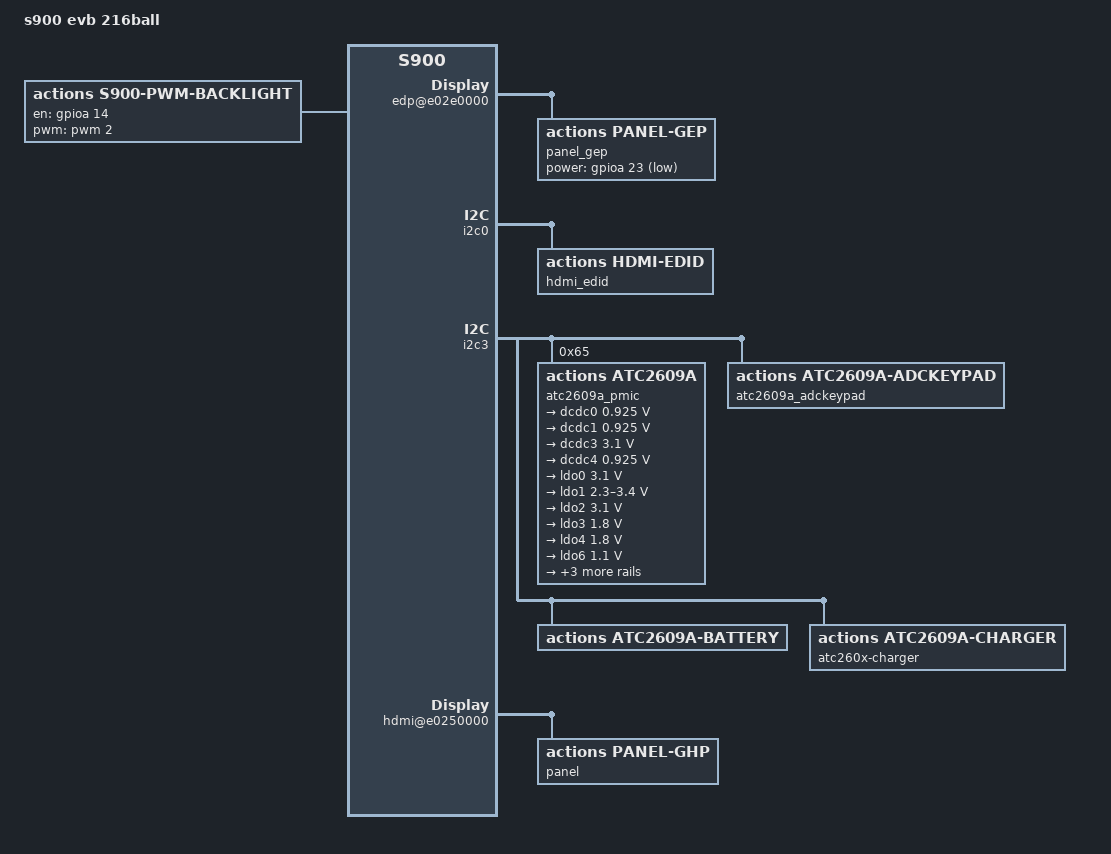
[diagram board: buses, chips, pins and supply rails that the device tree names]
/*
 * Copyright (c) 2015 Actions Semi Co., Ltd.
 *
 * SPDX-License-Identifier:	GPL-2.0+
 */

/dts-v1/;

#include "s900.dtsi"

/ {
	model = "s900 evb 216ball";
	compatible = "actions,s900_evb_216ball", "actions,s900";

	chosen {
		stdout-path = &serial5;
	};

	clock:e0160000 {
		compatible = "actions,owl-clk";
		core_pll = <1104>;
		dev_pll = <660>;
		display_pll = <1056>;
	};

	pwm: pwm@e01b0000 {
		pwm2 {
			id = <2>;
			mfp = <0>;
		};
	};

	edp@e02e0000 {
		panel_configs = <&config0>;

		/*
		 * edp_configs, used to configure edp controller,
		 * its values should set according to edp panel's spec.
		 * Currently, the configration is for lg-lp097qx1 panel.
		 */
		config0: edp_configs {
			link_rate = <0>;	/* 0, 1.62G; 1, 2.7G; 2, 5.4G */

			lane_count = <4>;
			lane_polarity = <0x00>;	/* bit 0~3 map for lanes' polarity,
						   bit 4 map for aux lanes' polarity,
						   0 normal, 1 reversed */
			lane_mirror = <1>;	/* lane mirror, 0 lane0~3, 1 lane3~0 */

			mstream_polarity = <0x3>;/* bit map for mstream's polarity,
						   bit1: vsync, bit0 hsync */
			user_sync_polarity = <0xc>;/* bit map for user sync's polarity,
						    * bit3: sync signal polarity,
						    * bit2: enable signal polarity,
						    * bit1: vsync polarity,
						    * bit0: hsync polarity
						    */

			pclk_parent = <0>;	/* 0, ASSIST_PLL, 1, DISPLAY PLL */
			pclk_rate = <200000000>;/* 200MHz, ASSIST_PLL, divider 2.5 */
		};

		/* lg-lp097qx1 edp panel */
		panel_gep: edp_panel {
			compatible = "actions,panel-gep";

			/* panel's fixed info */
			width_mm = <197>;
			height_mm = <147>;
			bpp = <18>;

			is_primary = <1>;

			/* operation delay in ms */
			power_on_delay = <0>;
			power_off_delay = <0>;
			enable_delay = <0>;
			disable_delay = <0>;

			/* GPIOA23, active low */
			power-gpio = <&gpioa 23 1>;

			videomode-0 = <&mode0>;

			/* 2048x1536p60 */
			mode0: videomode {
				refresh_rate = <60>;

				xres = <2048>;
				yres = <1536>;

				/*
				 * pclk_rate = 200MHz, ASSIS_PLL, divider 2.5
				 * pixel_clock = picoseconds / pclk_rate
				 */
				pixel_clock = <5000>;

				hsw = <5>;
				hbp = <44>;
				hfp = <48>;

				vsw = <10>;
				vbp = <6>;
				vfp = <2>;

				/* 0: FB_VMODE_NONINTERLACED, 1:FB_VMODE_INTERLACED */
				vmode = <0>;
			};
		};
	};

	i2c0: i2c@e0170000 {
		hdmi_edid {
			compatible = "actions,hdmi-edid";
		};
	};

	i2c3: i2c@e0176000 {
		atc2609a_pmic {
			compatible = "actions,atc2609a";
			reg = <0x65>;

			atc2609a_rtc {
					compatible = "actions,atc2609a-rtc";
			};

			atc2609a_pstore {
					compatible = "actions,atc2609a-pstore";
			};

			atc2609a_misc {
					compatible = "actions,atc2609a-misc";
			};

			atc2609a_auxadc {
					compatible = "actions,atc2609a-auxadc";
			};

			voltage-regulators {

			/* DCDC0       VDD_CORE
			 * DCDC1       VDD_CPU
			 * DCDC2       VDDR
			 * DCDC3       VCC
			 * DCDC4       VDD_CPUM
			 */
			dcdc0: dcdc0 {
				regulator-name = "dcdc0";
				regulator-min-microvolt = <925000>;
				regulator-max-microvolt = <925000>;
				regulator-always-on;
			};

			dcdc1: dcdc1 {
				regulator-name = "dcdc1";
				regulator-min-microvolt = <925000>;
				regulator-max-microvolt = <925000>;
				regulator-always-on;
			};

			dcdc3: dcdc3 {
				regulator-name = "dcdc3";
				regulator-min-microvolt = <3100000>;
				regulator-max-microvolt = <3100000>;
				regulator-always-on;
			};

			dcdc4: dcdc4 {
				regulator-name = "dcdc4";
				regulator-min-microvolt = <925000>;
				regulator-max-microvolt = <925000>;
				regulator-always-on;
			};

			/* LDO0        SD_VCC     
			 * LDO1        SENS_AVDD  
			 * LDO2        AVCC       
			 * LDO3        ATC2609_VDD   
			 * LDO4        AVCC_1V8   
			 * LDO6        AVDD_1V0   
			 * LDO7        SENS_DVDD  
			 * LDO8        TP_VCC     
			 * LDO9        RTC_VDD     */

			ldo0: ldo0{
				regulator-name = "ldo0";
				regulator-min-microvolt  = <3100000>;
				regulator-max-microvolt = <3100000>;
				regulator-always-on;
			};

			ldo1: ldo1{
				regulator-name = "ldo1";
				regulator-min-microvolt  = <2300000>;
				regulator-max-microvolt = <3400000>;
			};

			ldo2: ldo2{
				regulator-name = "ldo2";
				regulator-min-microvolt  = <3100000>;
				regulator-max-microvolt = <3100000>;
				regulator-always-on;
			};

			ldo3: ldo3{
				regulator-name = "ldo3";
				regulator-min-microvolt  = <1800000>;
				regulator-max-microvolt = <1800000>;
				regulator-always-on;
			};

			ldo4: ldo4{
				regulator-name = "ldo4";
				regulator-min-microvolt  = <1800000>;
				regulator-max-microvolt = <1800000>;
				regulator-always-on;
			};


			ldo6: ldo6{
				regulator-name = "ldo6";
				regulator-min-microvolt  = <1100000>;
				regulator-max-microvolt = <1100000>;
				regulator-always-on;
			};

			ldo7: ldo7{
				regulator-name = "ldo7";
				regulator-min-microvolt  = <700000>;
				regulator-max-microvolt = <2200000>;
			};

			ldo8: ldo8{
				regulator-name = "ldo8";
				regulator-min-microvolt  = <2100000>;
				regulator-max-microvolt = <3300000>;
			};

			ldo9: ldo9{
				regulator-name = "ldo9";
				regulator-min-microvolt  = <2600000>;
				regulator-max-microvolt = <3300000>;
			};
			};
		};
		atc2609a_adckeypad {
			#define KEY_VOLUMEDOWN	114
			#define KEY_VOLUMEUP	115
			compatible = "actions,atc2609a-adckeypad";
			keymapsize = <2>;
			adc_channel_name = "AUX0";
			key_val = <KEY_VOLUMEUP KEY_VOLUMEDOWN>;
			left_adc_val =  <0 3300>;
			right_adc_val = <100 3700>;
		};
		atc2609a-battery{
			compatible = "actions,atc2609a-battery";
			capacity = <7000>;/*unit:mAh*/
			shutdown_current = <50>;/*unit:ua*/
		};
		atc260x-charger{
			compatible = "actions,atc2609a-charger";
			rsense = <20>;/*unit:mohm*/
			support_adaptor_type = <3>; /*1: DCIN  2: USB  3:DCIN+USB*/
		};
	};

	backlight {
		compatible = "actions,s900-pwm-backlight";

		/* GPIOA14, active high */
		en-gpios = <&gpioa 14 0>;

		/*1.pwm num; 2. period in ns; */
		/*3.plarity, 0: high active, 1: low active*/
		pwms = <&pwm 2 50000 0>;

		total_steps = <1024>;
		min_brightness = <100>;
		max_brightness = <1000>;
		dft_brightness = <500>;

		delay_bf_pwm = <0>; /*in ms*/
		delay_af_pwm = <5>; /*in ms*/
	};

	hdmi@e0250000 {
		hdcp_onoff = <0>;
		channel_invert = <0>;
		bit_invert = <0>;

		panel@ghp {
			compatible = "actions,panel-ghp";

			is_primary = <0>;
		};
	};

	xhci@e0400000 {
		actions,vbus-gpio = <&gpiod 1 0>;  /* GPIOD1,  0:  high active ; 1: low active */
	};
};
